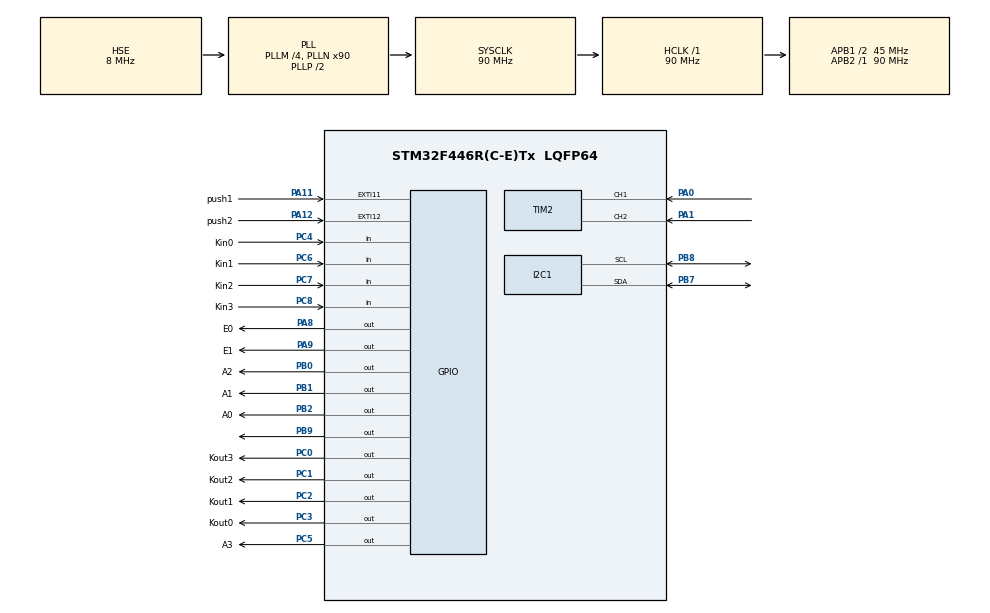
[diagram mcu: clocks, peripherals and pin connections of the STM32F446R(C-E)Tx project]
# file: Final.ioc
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Mcu.Family=STM32F4
Mcu.Name=STM32F446R(C-E)Tx
Mcu.Package=LQFP64
NVIC.EXTI15_10_IRQn=true\:0\:0\:false\:false\:true\:true\:true\:true
NVIC.PriorityGroup=NVIC_PRIORITYGROUP_4
NVIC.TIM1_TRG_COM_TIM11_IRQn=true\:0\:0\:false\:false\:true\:true\:true\:true
NVIC.TIM2_IRQn=true\:0\:0\:false\:false\:true\:true\:true\:true
NVIC.TIM8_UP_TIM13_IRQn=true\:0\:0\:false\:false\:true\:true\:true\:true
PA0-WKUP.Signal=S_TIM2_CH1_ETR
PA1.Signal=S_TIM2_CH2
PA11.GPIO_Label=push1
PA11.Signal=GPXTI11
PA12.GPIO_Label=push2
PA12.Signal=GPXTI12
PA8.GPIO_Label=E0
PA8.Signal=GPIO_Output
PA9.GPIO_Label=E1
PA9.Signal=GPIO_Output
PB0.GPIO_Label=A2
PB0.Signal=GPIO_Output
PB1.GPIO_Label=A1
PB1.Signal=GPIO_Output
PB2.GPIO_Label=A0
PB2.Signal=GPIO_Output
PB7.Mode=I2C
PB7.Signal=I2C1_SDA
PB8.Mode=I2C
PB8.Signal=I2C1_SCL
PB9.Signal=GPIO_Output
PC0.GPIO_Label=Kout3
PC0.Signal=GPIO_Output
PC1.GPIO_Label=Kout2
PC1.Signal=GPIO_Output
PC2.GPIO_Label=Kout1
PC2.Signal=GPIO_Output
PC3.GPIO_Label=Kout0
PC3.Signal=GPIO_Output
PC4.GPIO_Label=Kin0
PC4.GPIO_PuPd=GPIO_PULLUP
PC4.Signal=GPIO_Input
PC5.GPIO_Label=A3
PC5.Signal=GPIO_Output
PC6.GPIO_Label=Kin1
PC6.GPIO_PuPd=GPIO_PULLUP
PC6.Signal=GPIO_Input
PC7.GPIO_Label=Kin2
PC7.GPIO_PuPd=GPIO_PULLUP
PC7.Signal=GPIO_Input
PC8.GPIO_Label=Kin3
PC8.GPIO_PuPd=GPIO_PULLUP
PC8.Signal=GPIO_Input
PH0-OSC_IN.Mode=HSE-External-Oscillator
PH0-OSC_IN.Signal=RCC_OSC_IN
PH1-OSC_OUT.Mode=HSE-External-Oscillator
PH1-OSC_OUT.Signal=RCC_OSC_OUT
ProjectManager.HeapSize=0x200
ProjectManager.StackSize=0x400
ProjectManager.TargetToolchain=STM32CubeIDE
RCC.AHBFreq_Value=90000000
RCC.APB1CLKDivider=RCC_HCLK_DIV2
RCC.APB1Freq_Value=45000000
RCC.APB1TimFreq_Value=90000000
RCC.APB2Freq_Value=90000000
RCC.APB2TimFreq_Value=90000000
RCC.CortexFreq_Value=90000000
RCC.HCLKFreq_Value=90000000
RCC.HSE_VALUE=8000000
RCC.PLLM=4
RCC.PLLN=90
RCC.PLLSourceVirtual=RCC_PLLSOURCE_HSE
RCC.SYSCLKFreq_VALUE=90000000
RCC.SYSCLKSource=RCC_SYSCLKSOURCE_PLLCLK
RCC.USBFreq_Value=90000000
RCC.VCOOutputFreq_Value=180000000
SH.S_TIM2_CH1_ETR.0=TIM2_CH1,Encoder_Interface
SH.S_TIM2_CH2.0=TIM2_CH2,Encoder_Interface
TIM11.Period=124
TIM11.Prescaler=99
TIM13.Period=1000 - 1
TIM13.Prescaler=5000 - 1
VP_TIM11_VS_ClockSourceINT.Mode=Enable_Timer
VP_TIM13_VS_ClockSourceINT.Mode=Enable_Timer
board=custom

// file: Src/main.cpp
/* USER CODE BEGIN Header */
/**
  ******************************************************************************
  * @file           : main.c
  * @brief          : Main program body
  ******************************************************************************
  * @attention
  *
  * Copyright (c) 2023 STMicroelectronics.
  * All rights reserved.
  *
  * This software is licensed under terms that can be found in the LICENSE file
  * in the root directory of this software component.
  * If no LICENSE file comes with this software, it is provided AS-IS.
  *
  ******************************************************************************
  */
/* USER CODE END Header */
#include "main.h"

/* USER CODE BEGIN Includes */
#include "modes.h"
#include "lcd.h"
#include "sequencer.h"
#include "track.h"
#include "keypad.h"
/* USER CODE END Includes */

/* USER CODE BEGIN PD */
#define SLAVE_ADDRESS_LCD 0x4E

volatile uint16_t modenum = 0;
volatile uint8_t escaping = 0; // used to get out of waitscan();
volatile uint8_t switching = 0;
volatile uint8_t freq = 60;
volatile uint8_t volume = 50;

volatile int* rknob;
volatile int* rpress;
volatile int* lknob;
volatile int* beatset;
volatile int* rturn;

int bpm = 60;
int beat = 0;
/* USER CODE END PD */

I2C_HandleTypeDef hi2c1;

TIM_HandleTypeDef htim2;
TIM_HandleTypeDef htim13;
TIM_HandleTypeDef htim11;

void SystemClock_Config(void);
static void MX_GPIO_Init(void);
static void MX_TIM2_Init(void);
static void MX_TIM13_Init(void);
static void MX_TIM11_Init(void);
static void MX_I2C1_Init(void);

/* USER CODE BEGIN 0 */
uint32_t counter1 = 0;
int16_t count1 = 0;
int16_t position1 = 0;
int16_t oldPosition1 = 0;
int dir1 = 0;
uint32_t counter2 = 0;
int16_t count2 = 0;
int16_t position2 = 0;
int16_t oldPosition2 = 0;
int dir2 = 0;
int w = 0; // value for changing tempo
int debug1 = 0;
int debug2 = 0;
int debug3 = 0;
float thing2 = 0;
int BPM = 0;
volatile int LED_Buffer[16] = {0, 0, 0, 0, 0, 0, 0, 0, 0, 0, 0, 0, 0, 0, 0, 0};// used by keypad clock to flash lights
int curlight = 0;

void lcd_send_cmd (char cmd)
{
  char data_u, data_l;
	uint8_t data_t[4];
	data_u = (cmd&0xf0);
	data_l = ((cmd<<4)&0xf0);
	data_t[0] = data_u|0x0C;  //en=1, rs=0
	data_t[1] = data_u|0x08;  //en=0, rs=0
	data_t[2] = data_l|0x0C;  //en=1, rs=0
	data_t[3] = data_l|0x08;  //en=0, rs=0
	HAL_I2C_Master_Transmit (&hi2c1, SLAVE_ADDRESS_LCD,(uint8_t *) data_t, 4, 100);
}

void lcd_send_data (char data)
{
	char data_u, data_l;
	uint8_t data_t[4];
	data_u = (data&0xf0);
	data_l = ((data<<4)&0xf0);
	data_t[0] = data_u|0x0D;  //en=1, rs=1
	data_t[1] = data_u|0x09;  //en=0, rs=1
	data_t[2] = data_l|0x0D;  //en=1, rs=1
	data_t[3] = data_l|0x09;  //en=0, rs=1
	HAL_I2C_Master_Transmit (&hi2c1, SLAVE_ADDRESS_LCD,(uint8_t *) data_t, 4, 100);
}

void lcd_init (void)
{
	// 4 bit initialisation
	HAL_Delay(50);  // wait for >40ms
	lcd_send_cmd (0x30);
	HAL_Delay(5);  // wait for >4.1ms
	lcd_send_cmd (0x30);
	HAL_Delay(1);  // wait for >100us
	lcd_send_cmd (0x30);
	HAL_Delay(10);
	lcd_send_cmd (0x20);  // 4bit mode
	HAL_Delay(10);

  // dislay initialisation
	lcd_send_cmd (0x28); // Function set --> DL=0 (4 bit mode), N = 1 (2 line display) F = 0 (5x8 characters)
	HAL_Delay(1);
	lcd_send_cmd (0x08); //Display on/off control --> D=0,C=0, B=0  ---> display off
	HAL_Delay(1);
	lcd_send_cmd (0x01);  // clear display
	HAL_Delay(1);
	HAL_Delay(1);
	lcd_send_cmd (0x06); //Entry mode set --> I/D = 1 (increment cursor) & S = 0 (no shift)
	HAL_Delay(1);
	lcd_send_cmd (0x0C); //Display on/off control --> D = 1, C and B = 0. (Cursor and blink, last two bits)
}

void lcd_send_string (char *str)
{
	while (*str) lcd_send_data (*str++);
}

void HAL_TIM_IC_CaptureCallback(TIM_HandleTypeDef *htim)
{
	/*
	if(htim == &htim2){
		counter1 = __HAL_TIM_GET_COUNTER(htim);
		count1 = (int16_t)counter1;
		position1 = count1 / 4;

		if (oldPosition1 > position1)	dir1 = 1;	// Right turn (CW)
		else if (oldPosition1 < position1) dir1 = -1;	// Left turn (CCW)
			// else dir1 = 0;	// No turning

		oldPosition1 = position1;
	}*/
	if(htim == &htim2){
		counter2 = __HAL_TIM_GET_COUNTER(htim);
		count2 = (int16_t)counter2;
		position2 = count2 / 4;
		//thing2 = position2 - oldPosition2;
		if (oldPosition2 > position2)	dir1 = 1;	// Right turn (CW)
		else if (oldPosition2 < position2) dir1 = -1;	// Left turn (CCW)
			// else dir2 = 0;	// No turning

		//thing = oldPosition2;
		if(oldPosition2 == position2) return;
		if(modenum == 0){
			oldPosition2 = position2;

			if(*rturn == 1) return;

			*rturn = *rturn + dir1;
			BPM = *rturn; // BPM is a global debugging check value
			float interm = ((1000 * (*rturn - 60) / 15) + 4000); // calculation of new ARR to achieve BPM
			interm = 10000000 / interm; // FOR 20 MHz
			w = (int)interm - 1;
			debug1 = w; // these variables are also global debugging check values
			debug2 = BPM;
			HAL_TIM_Base_Stop_IT(&htim13);
			__HAL_TIM_SET_AUTORELOAD(&htim13, w - 1);
			HAL_TIM_Base_Start_IT(&htim13);
		}
		else if(modenum == 1){
			int res = *rturn;
			res = (res + dir1);
			if(res > 3) res = 0;
			else if(res < 0) res = 3;
			*rturn = res;
			if(escaping == 0) escaping = 1;
		}
	}
}

void HAL_GPIO_EXTI_Callback(uint16_t GPIO_Pin){ // encoder button interrupts
	if(GPIO_Pin == push1_Pin){
		for(int i = 0; i < 599999; i++){}
			modenum = (modenum + 1) % 5;
			switching = 1;
	}
	if(GPIO_Pin == push2_Pin){
		for(int i = 0; i < 999999; i++){}
		if((modenum == 0) | (modenum == 2)){ // toggle value between 0 and 1
			if(*rpress == 0) *rpress = 1; // PLAYING
			else *rpress = 0;
		}
		if(modenum == 1){
			if(*rpress == 0) *rpress = 1; // NEWBEAT
			if(escaping == 0) escaping = 1;
		}
	}
}

void HAL_TIM_PeriodElapsedCallback(TIM_HandleTypeDef *htim){
	if(htim == &htim13){ // SEQUENCER BEATS
		// HANDLE EVERY SINGLE BEAT HERE.
		uint16_t curb = *beatset; // CURRENT BEAT
		debug3 += 1;
		debug1 = curb;
		if(curb % 4 == 0) HAL_GPIO_TogglePin(GPIOB, GPIO_PIN_9);
		flash(curb);
		*beatset = (*beatset + 1) % 16;
	}
	if(htim == &htim11){ // KEYPAD LED FLASHING
		int cur = LED_Buffer[curlight];
		if(cur != 0){
			poweron();
			flash(curlight);
		}
		else{
			poweroff();
		}
		curlight = (curlight + 1) % 16;
	}
}
/* USER CODE END 0 */

int main(void)
{

  /* MCU Configuration--------------------------------------------------------*/

  /* Reset of all peripherals, Initializes the Flash interface and the Systick. */
  HAL_Init();

  /* Configure the system clock */
  SystemClock_Config();

  /* Initialize all configured peripherals */
  MX_GPIO_Init();
  MX_TIM2_Init();
  MX_TIM13_Init();
  MX_TIM11_Init();
  MX_I2C1_Init();
  /* USER CODE BEGIN 2 */

  //int BPM = 120;
  //rturn = &bpm;
  //beatset = &beat;
  HAL_TIM_Encoder_Start_IT(&htim2, TIM_CHANNEL_ALL);
  //HAL_TIM_Base_Start_IT(&htim13);
  HAL_GPIO_WritePin(GPIOB, GPIO_PIN_9, GPIO_PIN_SET); // debugging LED
  HAL_GPIO_WritePin(GPIOA, GPIO_PIN_9, GPIO_PIN_SET); // turn off LED matrix
  sequencer seq;

  turnoff();
  //HAL_TIM_Base_Start_IT(&htim13);

  lcd_init();

  /* USER CODE END 2 */

  /* Infinite loop */
  /* USER CODE BEGIN WHILE */
  while (1)
  {

	  modenum = selmode();
	  switching = 0;
	  	  switch(modenum){
	  	  	  case 0:
	  	  		  mode0(seq, &htim13);
	  	  	  	  break;
	  	  	  case 1:
	  	  	  	  mode1(seq);
	  	  	  	  break;
	  	  	  case 2:
	  	  	  	  mode2();
	  	  	  	  break;
	  	  	  case 3:
	  	  		  mode3();
	  	  		  break;
	  	  	  case 4:
	  	  	  	  mode4();
	  	  	  	  break;

	  	  }

    /* USER CODE END WHILE */

  }
}

void SystemClock_Config(void)
{
  RCC_OscInitTypeDef RCC_OscInitStruct = {0};
  RCC_ClkInitTypeDef RCC_ClkInitStruct = {0};

  /** Configure the main internal regulator output voltage
  */
  __HAL_RCC_PWR_CLK_ENABLE();
  __HAL_PWR_VOLTAGESCALING_CONFIG(PWR_REGULATOR_VOLTAGE_SCALE3);

  /** Initializes the RCC Oscillators according to the specified parameters
  * in the RCC_OscInitTypeDef structure.
  */
  RCC_OscInitStruct.OscillatorType = RCC_OSCILLATORTYPE_HSE;
  RCC_OscInitStruct.HSEState = RCC_HSE_ON;
  RCC_OscInitStruct.PLL.PLLState = RCC_PLL_ON;
  RCC_OscInitStruct.PLL.PLLSource = RCC_PLLSOURCE_HSE;
  RCC_OscInitStruct.PLL.PLLM = 4;
  RCC_OscInitStruct.PLL.PLLN = 90;
  RCC_OscInitStruct.PLL.PLLP = RCC_PLLP_DIV2;
  RCC_OscInitStruct.PLL.PLLQ = 2;
  RCC_OscInitStruct.PLL.PLLR = 2;
  if (HAL_RCC_OscConfig(&RCC_OscInitStruct) != HAL_OK)
  {
    Error_Handler();
  }

  /** Initializes the CPU, AHB and APB buses clocks
  */
  RCC_ClkInitStruct.ClockType = RCC_CLOCKTYPE_HCLK|RCC_CLOCKTYPE_SYSCLK
                              |RCC_CLOCKTYPE_PCLK1|RCC_CLOCKTYPE_PCLK2;
  RCC_ClkInitStruct.SYSCLKSource = RCC_SYSCLKSOURCE_PLLCLK;
  RCC_ClkInitStruct.AHBCLKDivider = RCC_SYSCLK_DIV1;
  RCC_ClkInitStruct.APB1CLKDivider = RCC_HCLK_DIV2;
  RCC_ClkInitStruct.APB2CLKDivider = RCC_HCLK_DIV1;

  if (HAL_RCC_ClockConfig(&RCC_ClkInitStruct, FLASH_LATENCY_2) != HAL_OK)
  {
    Error_Handler();
  }
}

static void MX_I2C1_Init(void)
{

  hi2c1.Instance = I2C1;
  hi2c1.Init.ClockSpeed = 100000;
  hi2c1.Init.DutyCycle = I2C_DUTYCYCLE_2;
  hi2c1.Init.OwnAddress1 = 0;
  hi2c1.Init.AddressingMode = I2C_ADDRESSINGMODE_7BIT;
  hi2c1.Init.DualAddressMode = I2C_DUALADDRESS_DISABLE;
  hi2c1.Init.OwnAddress2 = 0;
  hi2c1.Init.GeneralCallMode = I2C_GENERALCALL_DISABLE;
  hi2c1.Init.NoStretchMode = I2C_NOSTRETCH_DISABLE;
  if (HAL_I2C_Init(&hi2c1) != HAL_OK)
  {
    Error_Handler();
  }

}

static void MX_TIM2_Init(void)
{

  TIM_Encoder_InitTypeDef sConfig = {0};
  TIM_MasterConfigTypeDef sMasterConfig = {0};

  htim2.Instance = TIM2;
  htim2.Init.Prescaler = 0;
  htim2.Init.CounterMode = TIM_COUNTERMODE_UP;
  htim2.Init.Period = 4294967295;
  htim2.Init.ClockDivision = TIM_CLOCKDIVISION_DIV1;
  htim2.Init.AutoReloadPreload = TIM_AUTORELOAD_PRELOAD_DISABLE;
  sConfig.EncoderMode = TIM_ENCODERMODE_TI1;
  sConfig.IC1Polarity = TIM_ICPOLARITY_RISING;
  sConfig.IC1Selection = TIM_ICSELECTION_DIRECTTI;
  sConfig.IC1Prescaler = TIM_ICPSC_DIV1;
  sConfig.IC1Filter = 0;
  sConfig.IC2Polarity = TIM_ICPOLARITY_RISING;
  sConfig.IC2Selection = TIM_ICSELECTION_DIRECTTI;
  sConfig.IC2Prescaler = TIM_ICPSC_DIV1;
  sConfig.IC2Filter = 0;
  if (HAL_TIM_Encoder_Init(&htim2, &sConfig) != HAL_OK)
  {
    Error_Handler();
  }
  sMasterConfig.MasterOutputTrigger = TIM_TRGO_RESET;
  sMasterConfig.MasterSlaveMode = TIM_MASTERSLAVEMODE_DISABLE;
  if (HAL_TIMEx_MasterConfigSynchronization(&htim2, &sMasterConfig) != HAL_OK)
  {
    Error_Handler();
  }

}

static void MX_TIM11_Init(void)
{

  htim11.Instance = TIM11;
  htim11.Init.Prescaler = 99;
  htim11.Init.CounterMode = TIM_COUNTERMODE_UP;
  htim11.Init.Period = 124;
  htim11.Init.ClockDivision = TIM_CLOCKDIVISION_DIV1;
  htim11.Init.AutoReloadPreload = TIM_AUTORELOAD_PRELOAD_DISABLE;
  if (HAL_TIM_Base_Init(&htim11) != HAL_OK)
  {
    Error_Handler();
  }

}

static void MX_TIM13_Init(void)
{

  htim13.Instance = TIM13;
  htim13.Init.Prescaler = 9000 - 1;
  htim13.Init.CounterMode = TIM_COUNTERMODE_UP;
  htim13.Init.Period = 2500 - 1;
  htim13.Init.ClockDivision = TIM_CLOCKDIVISION_DIV1;
  htim13.Init.AutoReloadPreload = TIM_AUTORELOAD_PRELOAD_DISABLE;
  if (HAL_TIM_Base_Init(&htim13) != HAL_OK)
  {
    Error_Handler();
  }

}

static void MX_GPIO_Init(void)
{
  GPIO_InitTypeDef GPIO_InitStruct = {0};

  /* GPIO Ports Clock Enable */
  __HAL_RCC_GPIOH_CLK_ENABLE();
  __HAL_RCC_GPIOC_CLK_ENABLE();
  __HAL_RCC_GPIOA_CLK_ENABLE();
  __HAL_RCC_GPIOB_CLK_ENABLE();

  /*Configure GPIO pin Output Level */
  HAL_GPIO_WritePin(GPIOC, Kout3_Pin|Kout2_Pin|Kout1_Pin|Kout0_Pin
                          |A3_Pin, GPIO_PIN_RESET);

  /*Configure GPIO pin Output Level */
  HAL_GPIO_WritePin(GPIOB, A2_Pin|A1_Pin|A0_Pin|GPIO_PIN_9, GPIO_PIN_RESET);

  /*Configure GPIO pin Output Level */
  HAL_GPIO_WritePin(GPIOA, E0_Pin|E1_Pin, GPIO_PIN_RESET);

  /*Configure GPIO pins : Kout3_Pin Kout2_Pin Kout1_Pin Kout0_Pin
                           A3_Pin */
  GPIO_InitStruct.Pin = Kout3_Pin|Kout2_Pin|Kout1_Pin|Kout0_Pin
                          |A3_Pin;
  GPIO_InitStruct.Mode = GPIO_MODE_OUTPUT_PP;
  GPIO_InitStruct.Pull = GPIO_NOPULL;
  GPIO_InitStruct.Speed = GPIO_SPEED_FREQ_LOW;
  HAL_GPIO_Init(GPIOC, &GPIO_InitStruct);

  /*Configure GPIO pins : Kin0_Pin Kin1_Pin Kin2_Pin Kin3_Pin */
  GPIO_InitStruct.Pin = Kin0_Pin|Kin1_Pin|Kin2_Pin|Kin3_Pin;
  GPIO_InitStruct.Mode = GPIO_MODE_INPUT;
  GPIO_InitStruct.Pull = GPIO_PULLUP;
  HAL_GPIO_Init(GPIOC, &GPIO_InitStruct);

  /*Configure GPIO pins : A2_Pin A1_Pin A0_Pin PB9 */
  GPIO_InitStruct.Pin = A2_Pin|A1_Pin|A0_Pin|GPIO_PIN_9;
  GPIO_InitStruct.Mode = GPIO_MODE_OUTPUT_PP;
  GPIO_InitStruct.Pull = GPIO_NOPULL;
  GPIO_InitStruct.Speed = GPIO_SPEED_FREQ_LOW;
  HAL_GPIO_Init(GPIOB, &GPIO_InitStruct);

  /*Configure GPIO pins : E0_Pin E1_Pin */
  GPIO_InitStruct.Pin = E0_Pin|E1_Pin;
  GPIO_InitStruct.Mode = GPIO_MODE_OUTPUT_PP;
  GPIO_InitStruct.Pull = GPIO_NOPULL;
  GPIO_InitStruct.Speed = GPIO_SPEED_FREQ_LOW;
  HAL_GPIO_Init(GPIOA, &GPIO_InitStruct);

  /*Configure GPIO pins : push1_Pin push2_Pin */
  GPIO_InitStruct.Pin = push1_Pin|push2_Pin;
  GPIO_InitStruct.Mode = GPIO_MODE_IT_RISING;
  GPIO_InitStruct.Pull = GPIO_NOPULL;
  HAL_GPIO_Init(GPIOA, &GPIO_InitStruct);

  /* EXTI interrupt init*/
  HAL_NVIC_SetPriority(EXTI15_10_IRQn, 0, 0);
  HAL_NVIC_EnableIRQ(EXTI15_10_IRQn);

}

void Error_Handler(void)
{
  __disable_irq();
  while (1)
  {
  }
}
